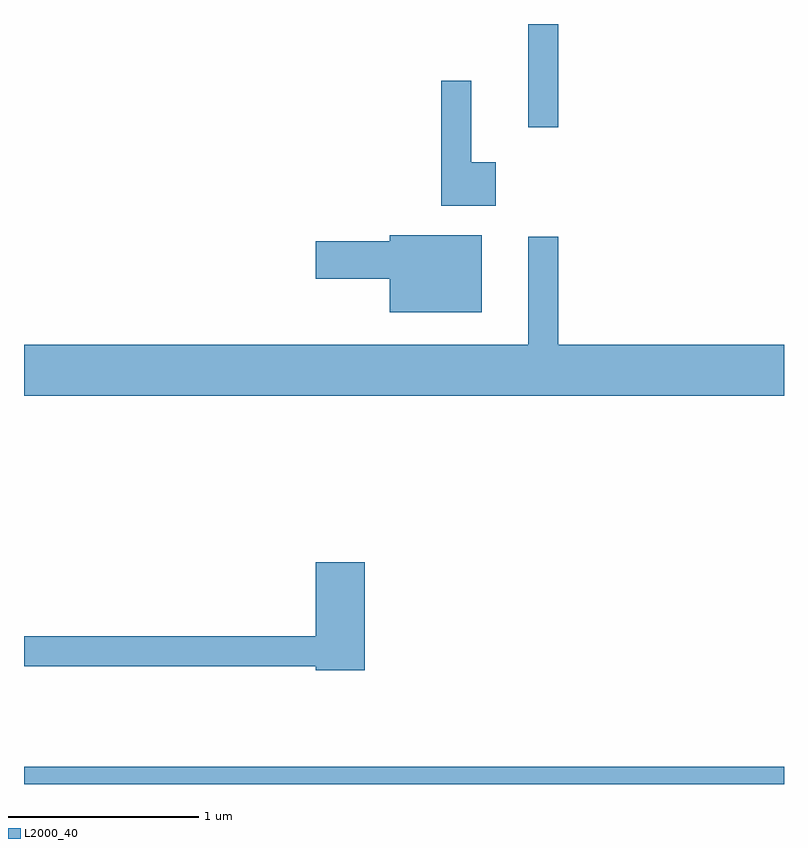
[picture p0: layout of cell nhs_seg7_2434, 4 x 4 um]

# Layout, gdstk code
import gdstk
lib = gdstk.Library(unit=1e-6, precision=1e-09)
def R(c, l, rs):  # rectangles x0, y0, x1, y1
    for r in rs: c.add(gdstk.rectangle(r[:2], r[2:], *l))
def P(c, l, *ps):  # polygons
    for p in ps: c.add(gdstk.Polygon(p, *l))
L2000_40 = (2000, 40)

nhs_seg7_2434 = lib.new_cell('nhs_seg7_2434')
R(nhs_seg7_2434, L2000_40, [(259.611,1732.252,263.611,1732.344), (262.266,1735.708,262.424,1736.252)])
P(nhs_seg7_2434, L2000_40, [(262.094,1735.524),(261.964,1735.524),(261.964,1735.953),(261.806,1735.953),(261.806,1735.296),(262.094,1735.296)],
  [(262.019,1735.139),(261.536,1735.139),(261.536,1735.109),(261.146,1735.109),(261.146,1734.911),(261.536,1734.911),(261.536,1734.736),(262.019,1734.736)],
  [(263.611,1734.564),(262.424,1734.564),(262.424,1735.133),(262.266,1735.133),(262.266,1734.564),(259.611,1734.564),(259.611,1734.296),(263.611,1734.296)],
  [(261.404,1733.419),(261.146,1733.419),(261.146,1733.029),(259.611,1733.029),(259.611,1732.871),(261.146,1732.871),(261.146,1732.851),(261.404,1732.851)])

lib.write_gds('nhs_seg7_2434.gds')
